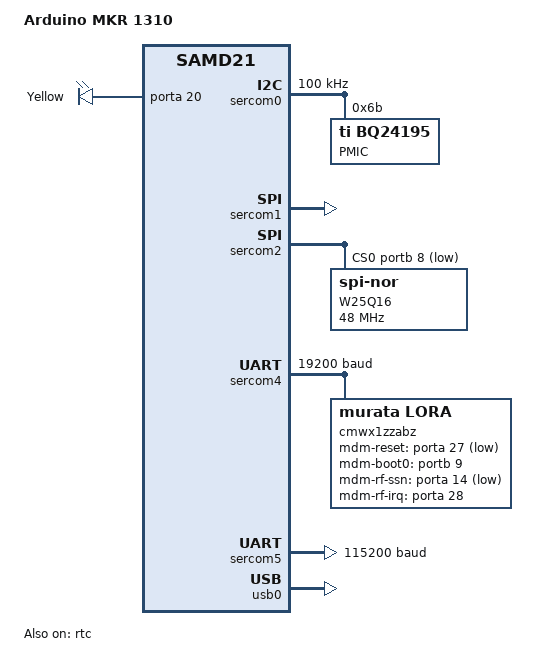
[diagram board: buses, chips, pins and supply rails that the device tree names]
/*
 * Copyright (c) 2020 Scanimetrics Inc.
 *
 * SPDX-License-Identifier: Apache-2.0
 */

/*
 *
 *  See this guide for device tree info
 *  https://docs.zephyrproject.org/latest/guides/dts/index.html
 *
 *  The device tree specification is here:
 *  https://www.devicetree.org/specifications/
 *
 */

/dts-v1/;
#include <scanimetrics/samd21.dtsi>
#include <dt-bindings/gpio/gpio.h>

/ {
	model = "Arduino MKR 1310";
	compatible = "arduino,mkr_1310", "atmel,samd21g18a", "atmel,samd21";

	chosen {
		zephyr,console = &sercom5;
		zephyr,shell-uart = &sercom5;
		zephyr,sram = &sram0;
		zephyr,flash = &flash0;
		zephyr,code-partition = &code_partition;
	};

	aliases {
		/* These aliases are provided for compatibility with samples */
		led0 = &led0;

		/* These aliases are provided for MKR pin mapping */
		mkr-pin-dac0 = &mkr_pin_a0;
		mkr-pin-mosi = &mkr_pin_d8;
		mkr-pin-sck = &mkr_pin_d9;
		mkr-pin-miso = &mkr_pin_d10;
		mkr-pin-sda = &mkr_pin_d11;
		mkr-pin-scl = &mkr_pin_d12;
		mkr-pin-rx = &mkr_pin_d13;
		mkr-pin-tx = &mkr_pin_d14;
	};

	leds {
		compatible = "gpio-leds";
		led0: pa20 {
			gpios = <&porta 20 GPIO_ACTIVE_HIGH>;
			label = "Yellow";
		};
	};

	mkr_pins {
		compatible = "gpio";
		mkr_pin_aref: pa3 {
			gpios = <&porta 3 (GPIO_ACTIVE_HIGH)>;
			label = "mkr_pin_aref";
		};
		mkr_pin_a0: pa2 {
			gpios = <&porta 2 (GPIO_ACTIVE_HIGH)>;
			label = "mkr_pin_a0";
		};
		mkr_pin_a1: pb2 {
			gpios = <&portb 2 (GPIO_ACTIVE_HIGH)>;
			label = "mkr_pin_a1";
		};
		mkr_pin_a2: pb3 {
			gpios = <&portb 3 (GPIO_ACTIVE_HIGH)>;
			label = "mkr_pin_a2";
		};
		mkr_pin_a3: pa4 {
			gpios = <&porta 4 (GPIO_ACTIVE_HIGH)>;
			label = "mkr_pin_a3";
		};
		mkr_pin_a4: pa5 {
			gpios = <&porta 5 (GPIO_ACTIVE_HIGH)>;
			label = "mkr_pin_a4";
		};
		mkr_pin_a5: pa6 {
			gpios = <&porta 6 (GPIO_ACTIVE_HIGH)>;
			label = "mkr_pin_a5";
		};
		mkr_pin_a6: pa7 {
			gpios = <&porta 7 (GPIO_ACTIVE_HIGH)>;
			label = "mkr_pin_a6";
		};
		mkr_pin_d0: pa22 {
			gpios = <&porta 22 (GPIO_ACTIVE_HIGH)>;
			label = "mkr_pin_d0";
		};
		mkr_pin_d1: pa23 {
			gpios = <&porta 23 (GPIO_ACTIVE_HIGH)>;
			label = "mkr_pin_d1";
		};
		mkr_pin_d2: pa10 {
			gpios = <&porta 10 (GPIO_ACTIVE_HIGH)>;
			label = "mkr_pin_d2";
		};
		mkr_pin_d3: pa11 {
			gpios = <&porta 11 (GPIO_ACTIVE_HIGH)>;
			label = "mkr_pin_d3";
		};
		mkr_pin_d4: pb10 {
			gpios = <&portb 10 (GPIO_ACTIVE_HIGH)>;
			label = "mkr_pin_d4";
		};
		mkr_pin_d5: pb11 {
			gpios = <&portb 11 (GPIO_ACTIVE_HIGH)>;
			label = "mkr_pin_d5";
		};
		mkr_pin_d6: pa20 {
			gpios = <&porta 20 (GPIO_ACTIVE_HIGH)>;
			label = "mkr_pin_d6";
		};
		mkr_pin_d7: pa21 {
			gpios = <&porta 21 (GPIO_ACTIVE_HIGH)>;
			label = "mkr_pin_d7";
		};
		mkr_pin_d8: pa16 {
			gpios = <&porta 16 (GPIO_ACTIVE_HIGH)>;
			label = "mkr_pin_d8";
		};
		mkr_pin_d9: pa17 {
			gpios = <&porta 17 (GPIO_ACTIVE_HIGH)>;
			label = "mkr_pin_d9";
		};
		mkr_pin_d10: pa19 {
			gpios = <&porta 19 (GPIO_ACTIVE_HIGH)>;
			label = "mkr_pin_d10";
		};
		mkr_pin_d11: pa8 {
			gpios = <&porta 8 (GPIO_ACTIVE_HIGH)>;
			label = "mkr_pin_d11";
		};
		mkr_pin_d12: pa9 {
			gpios = <&porta 9 (GPIO_ACTIVE_HIGH)>;
			label = "mkr_pin_d12";
		};
		mkr_pin_d13: pb23 {
			gpios = <&portb 23 (GPIO_ACTIVE_HIGH)>;
			label = "mkr_pin_d13";
		};
		mkr_pin_d14: pb22 {
			gpios = <&portb 22 (GPIO_ACTIVE_HIGH)>;
			label = "mkr_pin_d14";
		};
	};
};

&cpu0 {
	clock-frequency = <48000000>;
};

//  SERCOM0 is "Wire"
&sercom0 {
	status = "okay";
	compatible = "atmel,sam0-i2c";
	#address-cells = <1>;
	#size-cells = <0>;
	clocks = <&gclk0 0x14>, <&pm 0x20 2>, <&gclk4 0x13>;
	clock-names = "GCLK", "PM", "GCLK_SLOW";
	//  see zephyr/include/dt-bindings/i2c/i2c.h for device tree frequency defines
	clock-frequency = <I2C_BITRATE_STANDARD>;
	dmas = <&dmac 0 0x02>, <&dmac 0 0x01>;
	dma-names = "tx", "rx";

	bq24195: bq24195@6B {
		compatible = "ti,bq24195";
		reg = <0x6B>;
		label = "PMIC";
	};

	/* enable this when there is an ecc508 driver */
	// ecc0: ecc508@c0 {
	// 	compatible = "microchip,ecc508";
	// 	label = "ECC508";
	// 	reg = <0xc0>;
	// };
};

//  SERCOM1 is "SPI"
&sercom1 {
	status = "okay";
	compatible = "atmel,sam0-spi";
	#address-cells = <1>;
	#size-cells = <0>;
	clocks = <&gclk0 0x15>, <&pm 0x20 3>, <&gclk4 0x13>;
	clock-names = "GCLK", "PM", "GCLK_SLOW";
	dopo = <0>;
	dipo = <3>;
	// rxdma = 0;
	// txdma = 0;
};

//  SERCOM2 is "SPI1"
&sercom2 {
	status = "okay";
	compatible = "atmel,sam0-spi";
	#address-cells = <1>;
	#size-cells = <0>;
	clocks = <&gclk0 0x16>, <&pm 0x20 4>, <&gclk4 0x13>;
	clock-names = "GCLK", "PM", "GCLK_SLOW";
	dopo = <0>;
	dipo = <3>;
	cs-gpios = <&portb 8 GPIO_ACTIVE_LOW>, <&porta 14 GPIO_ACTIVE_LOW>;

	w25q16: w25q16@0 {
		compatible = "jedec,spi-nor";
		label = "W25Q16";
		jedec-id = [ef 40 15];
		size = <0x200000>;
		spi-max-frequency = <48000000>;
		reg = <0>;
		has-be32k;
		has-dpd;
		t-enter-dpd = <3000>;
		t-exit-dpd = <3000>;
	};
};

//  SERCOM4 is "SerialLoRa" / "Serial2"
//  Note: SERCOM4 and SERCOM2 conflict since they are configured
//  to share pins PA12 and PA15
&sercom4 {
	status = "okay";
	compatible = "atmel,sam0-uart";
	clocks = <&gclk3 0x18>, <&pm 0x20 6>, <&gclk4 0x13>;
	clock-names = "GCLK", "PM", "GCLK_SLOW";
	current-speed = <19200>;
	rxpo = <3>;
	txpo = <0>;

	lora0 {
		status = "okay";
		compatible = "murata,lora";
		label = "cmwx1zzabz";
		mdm-reset-gpios = <&porta 27 GPIO_ACTIVE_LOW>;		// murata module input  MCU_NRST	(schematic RF_NRES)
		mdm-boot0-gpios = <&portb 9 GPIO_ACTIVE_HIGH>;		// murata module input  BOOT0		(schematic BOOT0)
		mdm-rf-ssn-gpios = <&porta 14 GPIO_ACTIVE_LOW>;		// murata module input  PB12		(schematic RF_SSN)
		mdm-rf-irq-gpios = <&porta 28 GPIO_ACTIVE_HIGH>;	// murata module output PA4		(schematic RF_IRQ)
		// mdm-sck-gpios = <&porta 13 GPIO_ACTIVE_HIGH>;	// murata module output PB13		(schematic SCK)
		// mdm-miso-rx-gpios = <&porta 15 GPIO_ACTIVE_HIGH>;	// murata module output PB14		(schematic MISO_RX)
		// mdm-mosi-tx-gpios = <&porta 12 GPIO_ACTIVE_HIGH>;	// murata module output PB15		(schematic MOSI_TX)
	};
};

//  SERCOM5 is "Serial1"
&sercom5 {
	status = "okay";
	compatible = "atmel,sam0-uart";
	#address-cells = <1>;
	#size-cells = <0>;
	clocks = <&gclk0 0x19>, <&pm 0x20 7>, <&gclk4 0x13>;
	clock-names = "GCLK", "PM", "GCLK_SLOW";
	current-speed = <115200>;
	rxpo = <3>;
	txpo = <2>;
};

/*
 *  See this link for additional info on flash partitions
 *  https://github.com/zephyrproject-rtos/zephyr/blob/master/doc/guides/dts/flash_partitions.inc
 *
 *  Note, for some reason, code is not place automatically in the code partition
 *  To do so, you need to ensure that the base address is set in your project config
 *  For example:
 *    CONFIG_FLASH_BASE_ADDRESS=0x2000
 *
 */

&flash0 {
	partitions {
		compatible = "fixed-partitions";
		#address-cells = <1>;
		#size-cells = <1>;

		boot_partition: partition@0 {
			label = "sam-ba";
			reg = <0x00000000 0x2000>;
			read-only;
		};

		code_partition: partition@2000 {
			label = "code";
			reg = <0x2000 0x3a000>;
			read-only;
		};

		/*
		 * The final 16 KiB is reserved for the application
		 * and is used by file system if enabled.
		 */
		storage_partition: partition@3c000 {
			label = "storage";
			reg = <0x0003c000 0x00004000>;
		};
	};
};

&usb0 {
	status = "okay";
};

&rtc {
	status = "okay";
	clocks = <&gclk4 0x04>, <&pm 0x18 5>;
	clock-names = "GCLK", "PM";
	prescaler = <0>;
	clock-frequency = <32768>;
};
